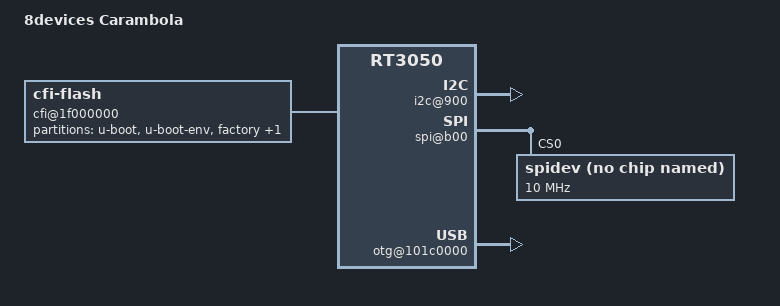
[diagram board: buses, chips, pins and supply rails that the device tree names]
/dts-v1/;

/include/ "rt3050.dtsi"

/ {
	compatible = "CARAMBOLA", "ralink,rt3050-soc";
	model = "8devices Carambola";

	chosen {
		bootargs = "console=ttyS0,115200";
	};

	palmbus@10000000 {
		i2c@900 {
			compatible = "link,rt3052-i2c", "ralink,rt2880-i2c";
			reg = <0x900 0x100>;

			resets = <&rstctrl 16>;
			reset-names = "i2c";

			#address-cells = <1>;
			#size-cells = <0>;
		};
		spi@b00 {
			status = "okay";
			spidev@0 {
				compatible = "linux,spidev";
				spi-max-frequency = <10000000>;
				reg = <0>;
			};
		};

	};

	pinctrl {
		state_default: pinctrl0 {
			gpio {
				ralink,group = "jtag", "rgmii", "mdio", "uartf";
				ralink,function = "gpio";
			};
			i2c {
				ralink,group = "i2c";
				ralink,function = "i2c";
			};
		};
	};

	cfi@1f000000 {
		compatible = "cfi-flash";
		reg = <0x1f000000 0x800000>;

		bank-width = <2>;
		device-width = <2>;
		#address-cells = <1>;
		#size-cells = <1>;

		partition@0 {
			label = "u-boot";
			reg = <0x0 0x30000>;
			read-only;
		};

		partition@30000 {
			label = "u-boot-env";
			reg = <0x30000 0x10000>;
			read-only;
		};

		factory: partition@40000 {
			label = "factory";
			reg = <0x40000 0x10000>;
			read-only;
		};

		partition@50000 {
			label = "firmware";
			reg = <0x50000 0x7b0000>;
		};
	};

	ethernet@10100000 {
		mtd-mac-address = <&factory 0x28>;
	};

	esw@10110000 {
		ralink,portmap = <0x3f>;
	};

	wmac@10180000 {
		ralink,mtd-eeprom = <&factory 0>;
	};

	otg@101c0000 {
		status = "okay";
	};

};
